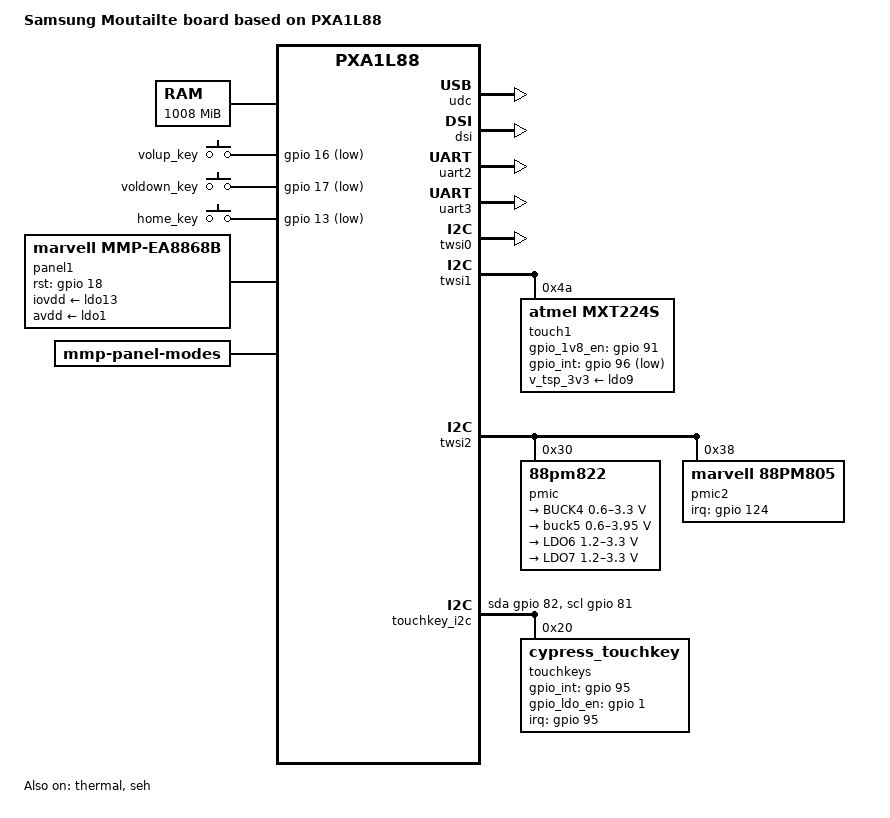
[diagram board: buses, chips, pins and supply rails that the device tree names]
/* arch/arm/boot/dts/pxall88-moutailte-r01.dts
 * Copyright (C) 2014 Samsung Electronics Co, Ltd.
 *
 * Based on arch/arm/boot/dts/pxa1l88-ajantalte-r02.dts
 * Author: Shankar Bandal <shankar.b@samsung.com>
 *
 * This software is licensed under the terms of the GNU General Public
 * License version 2, as published by the Free Software Foundation,
 * and may be copied, distributed, and modified under those terms.
 *
 * This program is distributed in the hope that it will be useful,
 * but WITHOUT ANY WARRANTY; without even the implied warranty of
 * MERCHANTABILITY or FITNESS FOR A PARTICULAR PURPOSE. See the
 * GNU General Public License for more details.
 */

/dts-v1/;
/memreserve/ 0x09000000 0x01000000;	/* ION (16MB)*/
#include "sec-pxa1x88-pinfunc.h"
#include "pxa1088.dtsi"
#include "sec-machtypes.h"
#include <dt-bindings/gpio/gpio.h>
#include <dt-bindings/interrupt-controller/irq.h>
#include <dt-bindings/mmc/pxa_sdhci.h>

/ {
	model = "Samsung Moutailte board based on PXA1L88";
	compatible = "mrvl,pxa1L88-sec", "mrvl,pxa1L88";
	pxa,rev-id = <MACH_TYPE_MOUTAILTE 1>;

	aliases {
		i2c6 = &touchkey_i2c;
	};

	memory {
		/* Memory Banks
		 * Bank 1 : Base 0x01000000
		 *	    Size 496 MB
		 * Bank 2 : Base 0x20000000
		 *	    Size 512 MB
		 */
		reg = <0x01000000 0x1F000000 0x20000000 0x20000000>;
	};

	gpio-keys {
		compatible = "gpio-keys";
		pinctrl-names = "default";
		pinctrl-0 = <&volumekeys_gpio_pmx &homekey_gpio_pmx>;
		status = "okay";

		volume-up {
			label = "volup_key";
			gpios = <&gpio 16 GPIO_ACTIVE_LOW>;
			linux,code = <115>;	/* KEY_VOLUMEUP */
			debounce-interval = <30>;
		};

		volume-down {
			label = "voldown_key";
			gpios = <&gpio 17 GPIO_ACTIVE_LOW>;
			linux,code = <114>;	/* KEY_VOLUMEUP */
			debounce-interval = <30>;
		};

		home-key {
			label = "home_key";
			gpios = <&gpio 13 GPIO_ACTIVE_LOW>;
			linux,code = <102>;	/* KEY_HOME */
			debounce-interval = <30>;
			gpio-key,wakeup;
		};
	};
	soc {
		ddr@c0100000 {  /* DDR memory controller */
			status = "okay";
		};

		axi@d4200000 {	/* AXI */
			coda7542: coda7542@d420d000 {
				marvell,sram-internal = <1>;
				marvell,nv21_support = <1>;
				status = "okay";
			};

			usbphy: usbphy@d4207000 {
				status = "okay";
			};

			udc: udc@d4208100 {
				status = "okay";
			};

			dsi: dsi@d420b800 {
				marvell,phy-name = "mmp_dsi1";
				marvell,plat-path-name = "mmp_pnpath";
				marvell,dsi-lanes = <2>;
				marvell,burst-mode = <2>;
				marvell,hbp-en;
				marvell,hfp-en;
				status = "okay";
			};

			disp: disp@d420b000 {
				marvell,disp-name = "disp_name";
				marvell,path-num = <1>;
				status = "okay";
				path1 {
					marvell,path-name = "mmp_pnpath";
					marvell,overlay-num = <2>;
					marvell,overlay-table = <0>, <1>;
					marvell,output-type = <1>;
					marvell,path-config = <0x10>;
					marvell,link-config = <0x1>;
					WVGA {
						disp1_clksrc = "pll1_624";
						dsipll_clksrc = "pll3";
						pn_sclk_clksrc = "dsi_pll";
					};
				};
			};

			fb0: fbbase {
				marvell,fb-name = "mmp-fb";
				marvell,path-name = "mmp_pnpath";
				marvell,overlay-id = <1>;
				marvell,default-pixfmt = <0x108>;
				marvell,buffer-num = <3>;
				marvell,fb-mem = <0xb000000>;
				status = "okay";
			};

			fb1: fboverlay@0 {
				marvell,fb-name = "mmp-fb-overlay.0";
				marvell,path-name = "mmp_pnpath";
				marvell,overlay-id = <0>;
				status = "okay";
			};

			fb2: fboverlay@1 {
				marvell,fb-name = "mmp-fb-overlay.1";
				marvell,path-name = "mmp_tvpath";
				marvell,overlay-id = <3>;
				status = "okay";
			};

			fb3: fboverlay@2 {
				marvell,fb-name = "mmp-fb-overlay.2";
				marvell,path-name = "mmp_tvpath";
				marvell,overlay-id = <2>;
				status = "okay";
			};

			/* eMMC */
			sdh3: sdh@d4281000 {
				pinctrl-names = "default";
				pinctrl-0 = <&sdh3_pmx_func1 &sdh3_pmx_func2>;
				bus-width = <8>;
				non-removable;
				marvell,sdh-pm-runtime-en;
				marvell,sdh-quirks = <(
						SDHCI_QUIRK_BROKEN_ADMA |
						SDHCI_QUIRK_BROKEN_CARD_DETECTION
						)>;
				marvell,sdh-quirks2 = <(SDHCI_QUIRK2_BUS_CLK_GATE_ENABLED)>;
				marvell,sdh-host-caps = <(MMC_CAP_1_8V_DDR)>;
				marvell,sdh-host-caps2 = <(MMC_CAP2_DISABLE_BLK_ASYNC)>;
				marvell,sdh-flags = <(
						PXA_FLAG_SD_8_BIT_CAPABLE_SLOT |
						PXA_FLAG_ENABLE_CLOCK_GATING |
						PXA_FLAG_TX_SEL_BUS_CLK
					      )>;
				/* prop "sdh-dtr-data": <timing preset_rate src_rate tx_delay rx_delay> */
				marvell,sdh-dtr-data = <PXA_MMC_TIMING_LEGACY PXA_SDH_DTR_26M PXA_SDH_DTR_104M 0 0>,
						<PXA_MMC_TIMING_MMC_HS PXA_SDH_DTR_52M PXA_SDH_DTR_104M 0 0>,
						<PXA_MMC_TIMING_UHS_DDR50 PXA_SDH_DTR_52M PXA_SDH_DTR_104M 0 0>,
						<PXA_MMC_TIMING_MAX PXA_SDH_DTR_PS_NONE PXA_SDH_DTR_104M 0 0>;
				status = "okay";
			};

			/* SD card */
			sdh1: sdh@d4280000 {
				pinctrl-names = "default";
				pinctrl-0 = <&sdh1_pmx_func1 &sdh1_pmx_func2 &sdh1_pmx_func3 &sdh1_pmx_func4>;
				/*vqmmc-supply	= <&ldo3>;*/
				vmmc-supply	= <&ldo4>;
				cd-gpios = <&gpio 90 0>;
				cd-inverted;
				bus-width = <4>;
				wp-inverted;
				marvell,sdh-pm-runtime-en;
				marvell,sdh-host-caps-disable = <(MMC_CAP_UHS_SDR104)>;
				marvell,sdh-quirks = <(
						SDHCI_QUIRK_INVERTED_WRITE_PROTECT |
						SDHCI_QUIRK_BROKEN_CARD_DETECTION
						)>;
				marvell,sdh-quirks2 = <(SDHCI_QUIRK2_BUS_CLK_GATE_ENABLED)>;
				marvell,sdh-flags = <(
						PXA_FLAG_TX_SEL_BUS_CLK |
						PXA_FLAG_ENABLE_CLOCK_GATING
					      )>;
				/* prop "sdh-dtr-data": <timing preset_rate src_rate tx_delay rx_delay> */
				marvell,sdh-dtr-data = <PXA_MMC_TIMING_LEGACY PXA_SDH_DTR_26M PXA_SDH_DTR_104M 0 0>,
						<PXA_MMC_TIMING_SD_HS PXA_SDH_DTR_52M PXA_SDH_DTR_104M 0 0>,
						<PXA_MMC_TIMING_UHS_DDR50 PXA_SDH_DTR_52M PXA_SDH_DTR_104M 0 0>,
						<PXA_MMC_TIMING_MAX PXA_SDH_DTR_PS_NONE PXA_SDH_DTR_104M 0 0>;
				status = "disabled";
			};



			squ: squ@d42a0800 {
				compatible = "marvell,pxa910-squ";
				reg = <0xd42a0800 0x100>;
				interrupts = <0 46 0x4>;
				#dma-cells = <1>;
				asram = <&sram>;
			};

			vpu-devfreq {
				status = "okay";
			};
			geu: geu {
				status = "okay";
			};
		};

		apb@d4000000 {
			pdma0: pdma@d4000000 {
				status = "okay";
			};

			uart2: uart@d4017000 {
				pinctrl-names = "default", "sleep";
				pinctrl-0 = <&uart2_pmx_func1 &uart2_pmx_func2>;
				pinctrl-1 = <&uart2_pmx_func1_sleep &uart2_pmx_func2>;
				edge-wakeup-gpio = <47>; /* GPIO47: UART rx pin */
				status = "okay";
			};

			uart3: uart@d4018000 {
				pinctrl-names = "default";
				pinctrl-0 = <&uart3_pmx_func>;
				status = "okay";
			};

			edgewakeup: edgewakeup@d4019800 {
				status = "ok";
			};

			rtc: rtc@d4010000 {
				status = "okay";
			};

			thermal: thermal@d4013200 {
				compatible = "marvell,pxa-thermal";
				reg = <0xd4013200 0x50>;
				interrupts = <0 60 0x4>;
				trigger_levels_count = <4>;
				type = <2>;
				status = "ok";
			};

			watchdog: watchdog@d4080000 {
				status = "okay";
			};

			ssp_dai1: pxa-ssp-dai@1 {
				compatible = "mrvl,pxa-ssp-dai";
				reg = <0x1 0x0>;
				port = <&ssp1>;
				pinctrl-names = "default","ssp";
				pinctrl-0 = <&i2s_gpio>;
				pinctrl-1 = <&i2s_func>;
				ssp-gpio = <&gpio 21 0 &gpio 22 0 &gpio 23 0 &gpio 24 0>;
				dmas = <&squ 1
					&squ 0>;
				dma-names = "rx", "tx";
				asram = <&sram>;
				platform_driver_name = "tdma_platform";
				burst_size = <4>;
				playback_period_bytes = <4096>;
				playback_buffer_bytes = <20480>;
				capture_period_bytes = <4096>;
				capture_buffer_bytes = <20480>;
			};

			ssp_dai4: pxa-ssp-dai@4 {
				compatible = "mrvl,pxa-ssp-dai";
				reg = <0x4 0x0>;
				port = <&ssp4>;
				pinctrl-names = "default","ssp";
				pinctrl-0 = <&gssp_gpio>;
				pinctrl-1 = <&gssp_func>;
				ssp-gpio = <&gpio 25 0 &gpio 26 0 &gpio 27 0 &gpio 28 0>;
				dmas = <&pdma0 6 0
					&pdma0 7 0>;
				dma-names = "rx", "tx";
				platform_driver_name = "pdma_platform";
				burst_size = <8>;
				playback_period_bytes = <4096>;
				playback_buffer_bytes = <131072>;
				capture_period_bytes = <4096>;
				capture_buffer_bytes = <131072>;
			};

			gpio: gpio@d4019000 {
				status = "okay";
				/*
				 * In theorical, some gpios could be routed to
				 * multiple pins. So define the gpio-ranges in
				 * board file, not silicon file.
				 */
				gcb0: gpio@d4019000 {
					/* gpio offset, pin offset, nr pins */
					gpio-ranges = <&pmx 0 55 32>;
				};
				gcb1: gpio@d4019004 {
					gpio-ranges = <&pmx 0 87 23>;
				};
				gcb2: gpio@d4019008 {
					gpio-ranges = <&pmx 3 110 29>;
				};
				gcb3: gpio@d4019100 {
					gpio-ranges = <&pmx 0 139 3  &pmx 28 52 1>;
				};
			};

			pmx: pinmux@d401e000 {
				/* pin base, nr pins & gpio function */
				pinctrl-single,gpio-range = <
					/*
					 * GPIO number is hardcoded for range at here.
					 * In gpio chip, GPIO number is not hardcoded for range.
					 * Since one gpio pin may be routed to multiple pins,
					 * define these gpio range in pxa910-dkb.dts not pxa910.dtsi.
					 */
					&range 55 55 0	/* GPIO0 ~ GPIO54 */
					&range 110 32 0 /* GPIO67 ~ GPIO98 */
					&range 52 1 0	/* GPIO124 */
				>;

				/* MFP_PULL_UP | MFP_LPM_FLOAT */
				sdh1_pmx_func1: sdh1_pmx_func1 {
					pinctrl-single,pins = <
						MMC1_DAT7 AF0
						MMC1_DAT6 AF0
						MMC1_DAT5 AF0
						MMC1_DAT4 AF0
						MMC1_WP AF0
					>;
					DS_MEDIUM;PULL_UP;EDGE_NONE;LPM_FLOAT;
				};

				/* no pull, no LPM */
				sdh1_pmx_func2: sdh1_pmx_func2 {
					pinctrl-single,pins = <
						MMC1_DAT3 AF0
						MMC1_DAT2 AF0
						MMC1_DAT1 AF0
						MMC1_DAT0 AF0
						MMC1_CMD AF0
					>;
					MFP_DEFAULT;
				};

				/* MFP_LPM_DRIVE_LOW */
				sdh1_pmx_func3: sdh1_pmx_func3 {
					pinctrl-single,pins = <
						MMC1_CLK AF0
					>;
					MFP_LPM_DRIVE_LOW;
				};

				/* MFP_PULL_HIGH */
				sdh1_pmx_func4: sdh1_pmx_func4 {
					pinctrl-single,pins = <
						MMC1_CD AF0
					>;
					DS_MEDIUM;PULL_HIGH;EDGE_NONE;LPM_NONE;
				};


				/* no pull, no LPM */
				sdh3_pmx_func1: sdh3_pmx_func1 {
					pinctrl-single,pins = <
						ND_IO7 AF1
						ND_IO6 AF1
						ND_IO5 AF1
						ND_IO4 AF1
						ND_IO3 AF1
						ND_IO2 AF1
						ND_IO1 AF1
						ND_IO0 AF1
						ND_CLE_SM_OEN AF1
						SM_BEN0 AF2
					>;
					DS_MEDIUM;PULL_UP;EDGE_NONE;LPM_FLOAT;
				};

				/* MFP_LPM_DRIVE_LOW */
				sdh3_pmx_func2: sdh3_pmx_func2 {
					pinctrl-single,pins = <
						SM_SCLK AF1
					>;
					MFP_LPM_DRIVE_LOW;
				};

				lcd_pmx: lcd_pmx {
					pinctrl-single,pins = <
						GPIO18 AF0
						>;
					DS_MEDIUM;PULL_DOWN;EDGE_NONE;LPM_DRIVE_LOW;
				};

				uart2_pmx_func1: uart2_pmx_func1 {
					pinctrl-single,pins = <
						GPIO47 AF6
					>;
					MFP_PULL_UP;
				};

				uart2_pmx_func2: uart2_pmx_func2 {
					pinctrl-single,pins = <
						GPIO48 AF6
					>;
					MFP_PULL_UP;
				};

				uart2_pmx_func1_sleep: uart2_pmx_func1_sleep {
					pinctrl-single,pins = <
						GPIO47 AF6
					>;
					MFP_PULL_UP;
				};

				uart3_pmx_func: uart3_pmx_func {
					pinctrl-single,pins = <
						GPIO45 AF1
						GPIO46 AF1
					>;
					MFP_DEFAULT;
				};

				twsi1_pmx_func: twsi1_pmx_func {
					pinctrl-single,pins = <
						GPIO87 AF5		/* 0x208 0x5 */
						GPIO88 AF5	   	/* 0x20C 0x5 */
					>;
					DS_MEDIUM;PULL_UP;EDGE_NONE;LPM_FLOAT;
				};

				tsp_int_pmx: tsp_int_pmx {
					pinctrl-single,pins = <
						GPIO96 AF0
					>;
					DS_MEDIUM;PULL_NONE;EDGE_NONE;LPM_NONE;
				};

				tsp_ldo_pmx: tsp_ldo_pmx {
					pinctrl-single,pins = <
						GPIO91 AF0
					>;
					DS_MEDIUM;PULL_NONE;EDGE_NONE;LPM_DRIVE_LOW;
				};

				touchkey_i2c_pmx: touchkey_i2c_pmx {
					pinctrl-single,pins = <
						GPIO82 AF0		/* SDA */
						GPIO81 AF0		/* SCL */
					>;
					DS_MEDIUM;PULL_UP;EDGE_NONE;LPM_DRIVE_LOW;
				};

				touchkey_pmx_func1: touchkey_pmx_func1 {
					pinctrl-single,pins = <
						GPIO95 AF0		/* INT */
					>;
					DS_MEDIUM;PULL_NONE;EDGE_NONE;LPM_NONE;
				};

				touchkey_pmx_func2: touchkey_pmx_func2 {
					pinctrl-single,pins = <
						GPIO1 AF0		/* LDO Enable */
					>;
					DS_MEDIUM;PULL_NONE;EDGE_NONE;LPM_DRIVE_LOW;
				};

				volumekeys_gpio_pmx: volumekeys_gpio_pmx {
					pinctrl-single,pins = <
						GPIO16 AF0		/* VOL UP */
						GPIO17 AF0		/* VOL DOWN */
					>;
					DS_MEDIUM;PULL_NONE;EDGE_NONE;LPM_FLOAT;
				};

				homekey_gpio_pmx: homekey_gpio_pmx {
					pinctrl-single,pins = <
						GPIO13 AF0		/* HOME */
					>;
					DS_MEDIUM;PULL_NONE;EDGE_NONE;LPM_FLOAT;
				};

				i2s_func: i2s_func {
					pinctrl-single,pins = <
						GPIO21 AF1
						GPIO22 AF1
						GPIO23 AF1
						GPIO24 AF1
					>;
					MFP_PULL_UP;

				};

				i2s_gpio: i2s_gpio {
					pinctrl-single,pins = <
						GPIO21 AF0
						GPIO22 AF0
						GPIO23 AF0
						GPIO24 AF0
					>;
					MFP_PULL_UP;
				};

				/* no pull, no LPM */
				dvc_pmx_func: dvc_pmx_func {
					pinctrl-single,pins = <
						GPIO43 AF6
						GPIO44 AF6
					>;
					MFP_DEFAULT;
				};

				gssp_func: gssp_func {
					pinctrl-single,pins = <
						GPIO25 AF1
						GPIO26 AF1
						GPIO27 AF1
						GPIO28 AF1
					>;
					MFP_PULL_UP;
				};

				gssp_gpio: gssp_gpio {
					pinctrl-single,pins = <
						GPIO25 AF0
						GPIO26 AF0
						GPIO27 AF0
						GPIO28 AF0
					>;
					MFP_PULL_UP;
				};
			};

			twsi0: i2c@d4011000 {
				status = "okay";

			};

			twsi1: i2c@d4010800 {
				pinctrl-names = "default";
				pinctrl-0 = <&twsi1_pmx_func>;
				status = "okay";

				touch1: mxt224s@4a {
					compatible = "atmel,mxt224s";
					reg = <0x4a>;

					pinctrl-names = "default";
					pinctrl-0 = <&tsp_int_pmx &tsp_ldo_pmx>;

					interrupts = <96 IRQ_TYPE_EDGE_FALLING>;
					atmel,funcflags = <0xf>;
					atmel,irqflags = <0x2002>;
					atmel,mxts_vdd_type = <1>;
					v_tsp_3v3-supply = <&ldo9>;
					atmel,mxts_vdd_regulator_volt = <3300000>;
					atmel,mxts_1v8_type = <0>;
					atmel,gpio_1v8_en = <&gpio 91 GPIO_ACTIVE_HIGH>;
					atmel,gpio_int = <&gpio 96 GPIO_ACTIVE_LOW>;

					atmel,num_xnode = <19>;
					atmel,num_ynode = <11>;
					atmel,max_x = <479>;
					atmel,max_y = <799>;
					atmel,project_name = "224S";
					atmel,config_ver = "0327";
				};
			};

			twsi2: i2c@d4037000 {
				status = "okay";

				pmic: 88pm822@30 {
					reg = <0x30>;
					interrupts = <0 4 0x4>;
					interrupt-parent = <&gic>;
					dvc {
						compatible = "marvell,88pm8xx-dvc";
						/* pm822 dvc affect buck1/3/5, affected 32bit = (1 << 4) | (1 << 2) | (1 << 0)*/
						dvc-affected-buckbits = <21>;
						pinctrl-names = "default";
						pinctrl-0 = <&dvc_pmx_func>;
					};
				};
				pmic2: 88pm805@38 {
					compatible = "marvell,88pm805";
					reg = <0x38>;
					interrupt-parent = <&gpio>;
					interrupts = <124 0x1>;
					marvell,88pm805-irq-write-clear;
				};
			};

			acipc: acipc@d401d000 {
				status = "okay";
			};

			seh: seh@d4080000 {
				compatible = "mrvl,seh";
				reg = <0xd4080000 0x100>;
				interrupts = <0 32 0x4>;
				interrupt-names = "CP_TIMER2_3";
				watchdog-type = <1>; /* soc timer */
				timer-num = <2>; /* timer num */
				match-num = <0>; /* match num */
				status = "okay";
			};

		};
		sound {
			compatible = "marvell,pxa-88pm805-snd-card";
			ssp-controllers = <&ssp_dai1 &ssp_dai4>;
		};

		ramoops {
			status = "okay";
		};
		sec-log {
			compatible = "sec-log";
			status = "okay";
		};
	};

	touchkey_i2c: i2c@0 {
		compatible = "i2c-gpio";
		gpios = <&gpio 82 0
			 &gpio 81 0>;

		i2c-gpio,sda-open-drain;
		i2c-gpio,scl-open-drain;
		i2c-gpio,delay-us = <3>;
		i2c-gpio,timeout-ms = <100>;

		#address-cells = <1>;
		#size-cells = <0>;
		pinctrl-names = "default";
		pinctrl-0 = <&touchkey_i2c_pmx>;

		status = "okay";

		touchkeys@20 {
			compatible = "cypress_touchkey";
			reg = <0x20>;

			cypress,gpio_int = <&gpio 95 GPIO_ACTIVE_HIGH>;
			cypress,gpio_ldo_en = <&gpio 1 GPIO_ACTIVE_HIGH>;
			interrupts = <95 IRQ_TYPE_EDGE_FALLING>;
			interrupt-parent = <&gpio>;
			pinctrl-names = "default";
			pinctrl-0 = <&touchkey_pmx_func1 &touchkey_pmx_func2>;

			cypress,mod_ver = <0x06>;
			cypress,firm_ver = <0x0B>;
			cypress,tk_keymap_size = <3>;
			cypress,tk_keymap = <0 139 158>;
			cypress,fw_name = "cypress/i9260.fw";
		};
	};

	ion {
		marvell,ion-nr = <2>;
		status = "okay";
		heap1 {
			marvell,ion-name = "carveout_heap";
			marvell,ion-type = <2>;
			marvell,ion-id = <2>;
			marvell,ion-base = <0x09000000>;
			marvell,ion-size = <0x01000000>;
		};

		heap2 {
			marvell,ion-name = "system_heap";
			marvell,ion-type = <0>;
			marvell,ion-id = <0>;
		};
	};

	panel1: ea8868b {
				compatible = "marvell,mmp-ea8868b";
				pinctrl-names = "default";
				pinctrl-0 = <&lcd_pmx>;
				marvell,path-name = "mmp_pnpath";
				rst-gpio = <&gpio 18 0>;
				iovdd-supply-type = <1>;
				iovdd-supply = <&ldo13>;
				avdd-supply-type = <1>;
				avdd-supply = <&ldo1>;
				status = "okay";
			};

	panel-modes {
		/*
		 * xres and yres are added for calculating
		 * framebuffer size.If this node is not added,
		 * it will take default
		 * size defined in  drivers/video/mmp/setup.c
		 */
		compatible = "mmp-panel-modes";
		xres = <480>;
		yres = <800>;
	};
};
/include/ "88pm8xx.dtsi"
&pmic {
	regulators {
		BUCK4 {
			regulator-compatible = "88PM800-BUCK4";
			regulator-min-microvolt = <600000>;
			regulator-max-microvolt = <3300000>;
			regulator-boot-on;
			regulator-always-on;
		};
		buck5: BUCK5 {
			regulator-compatible = "88PM800-BUCK5";
			regulator-min-microvolt = <600000>;
			regulator-max-microvolt = <3950000>;
			regulator-boot-on;
			regulator-always-on;
		};
		LDO6 {
			regulator-compatible = "88PM800-LDO6";
			regulator-min-microvolt = <1200000>;
			regulator-max-microvolt = <3300000>;
		};
		LDO7 {
			regulator-compatible = "88PM800-LDO7";
			regulator-min-microvolt = <1200000>;
			regulator-max-microvolt = <3300000>;
			regulator-boot-on;
			regulator-always-on;
		};
	};
};

